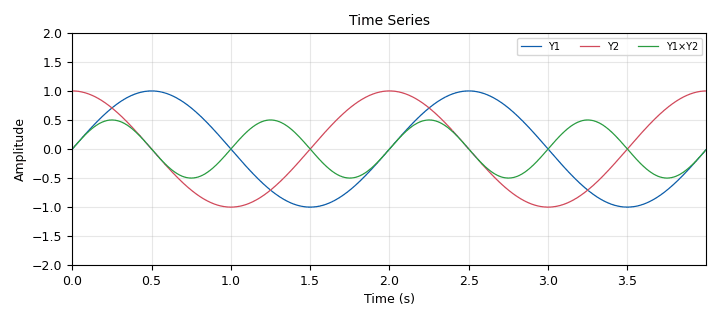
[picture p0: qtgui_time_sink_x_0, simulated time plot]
options:
  parameters:
    generate_options: qt_gui
    id: untitled
    output_language: python
    title: Phase Lab
  states: {}

blocks:
- name: a_y1
  id: variable_qtgui_dial_control
  parameters:
    gui_hint: 4,0,1,1
    label: Amplitude (Y1)
    maximum: '100'
    minimum: '0'
    relBackgroundColor: aqua
    scaleFactor: '0.01'
    showvalue: 'True'
    type: real
    value: '1'
  states: {}
- name: a_y2
  id: variable_qtgui_dial_control
  parameters:
    gui_hint: 4,4,1,1
    label: Amplitude (Y2)
    maximum: '100'
    minimum: '0'
    relBackgroundColor: purple
    scaleFactor: '0.01'
    showvalue: 'True'
    type: real
    value: '1'
  states: {}
- name: dc_y1
  id: variable_qtgui_dial_control
  parameters:
    gui_hint: 4,3,1,1
    label: Offset (Y1)
    maximum: '50'
    minimum: '-50'
    relBackgroundColor: aqua
    scaleFactor: '0.02'
    showvalue: 'True'
    type: real
    value: '0'
  states: {}
- name: dc_y2
  id: variable_qtgui_dial_control
  parameters:
    gui_hint: 4,7,1,1
    label: Offset (Y1)
    maximum: '50'
    minimum: '-50'
    relBackgroundColor: purple
    scaleFactor: '0.02'
    showvalue: 'True'
    type: real
    value: '0'
  states: {}
- name: f_y1
  id: variable_qtgui_dial_control
  parameters:
    gui_hint: 4,1,1,1
    label: Frequency (Y1)
    maximum: '40'
    minimum: '1'
    relBackgroundColor: aqua
    scaleFactor: '0.1'
    showvalue: 'True'
    type: real
    value: '0.5'
  states: {}
- name: f_y2
  id: variable_qtgui_dial_control
  parameters:
    gui_hint: 4,5,1,1
    label: Frequency (Y2)
    maximum: '40'
    minimum: '1'
    relBackgroundColor: purple
    scaleFactor: '0.1'
    showvalue: 'True'
    type: real
    value: '0.5'
  states: {}
- name: p_y1
  id: variable_qtgui_dial_control
  parameters:
    gui_hint: 4,2,1,1
    label: Phase (Y1)
    maximum: '72'
    minimum: '0'
    relBackgroundColor: aqua
    scaleFactor: '5'
    showvalue: 'True'
    type: real
    value: '0'
  states: {}
- name: p_y2
  id: variable_qtgui_dial_control
  parameters:
    gui_hint: 4,6,1,1
    label: Phase (Y2)
    maximum: '72'
    minimum: '0'
    relBackgroundColor: purple
    scaleFactor: '5'
    showvalue: 'True'
    type: real
    value: '90'
  states: {}
- name: samp_rate
  id: variable
  parameters:
    value: '1000'
  states: {}
- name: analog_sig_source_x_0
  id: analog_sig_source_x
  parameters:
    amp: a_y2
    freq: f_y2
    offset: dc_y2
    phase: p_y2 * math.pi /180
    samp_rate: samp_rate
    type: float
    waveform: analog.GR_SIN_WAVE
  states: {}
- name: analog_sig_source_x_0_0
  id: analog_sig_source_x
  parameters:
    amp: a_y1
    freq: f_y1
    offset: dc_y1
    phase: p_y1 * math.pi /180
    samp_rate: samp_rate
    type: float
    waveform: analog.GR_SIN_WAVE
  states: {}
- name: blocks_multiply_xx_0
  id: blocks_multiply_xx
  parameters:
    type: float
  states: {}
- name: import_0
  id: import
  parameters:
    imports: import math
  states: {}
- name: qtgui_time_sink_x_0
  id: qtgui_time_sink_x
  parameters:
    color1: cyan
    color2: magenta
    color3: black
    ctrlpanel: 'True'
    entags: 'False'
    grid: 'True'
    gui_hint: 0,0,3,4
    label1: Y1
    label2: Y2
    label3: Y1×Y2
    name: Time Series
    nconnections: '3'
    size: samp_rate*4
    srate: samp_rate
    style3: '3'
    tr_mode: qtgui.TRIG_MODE_AUTO
    type: float
    width1: '3'
    width2: '3'
    width3: '3'
    ymax: '2'
    ymin: '-2'
  states: {}

connections:
- [analog_sig_source_x_0, '0', blocks_multiply_xx_0, '1']
- [analog_sig_source_x_0, '0', qtgui_time_sink_x_0, '1']
- [analog_sig_source_x_0_0, '0', blocks_multiply_xx_0, '0']
- [analog_sig_source_x_0_0, '0', qtgui_time_sink_x_0, '0']
- [blocks_multiply_xx_0, '0', qtgui_time_sink_x_0, '2']

metadata:
  file_format: 1
  grc_version: 3.10.12.0
